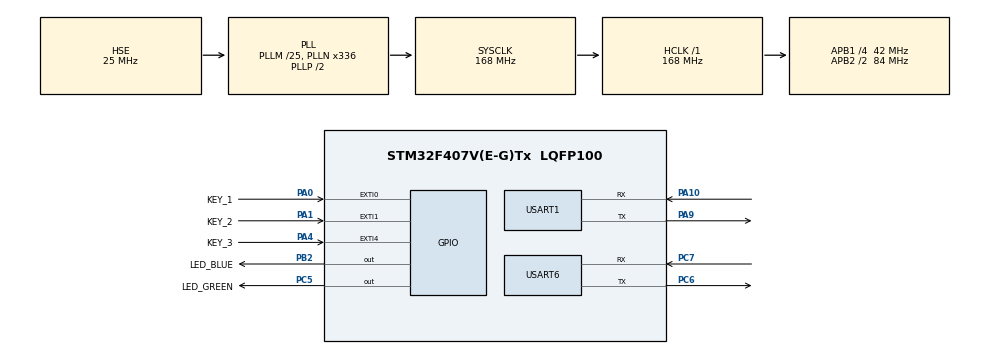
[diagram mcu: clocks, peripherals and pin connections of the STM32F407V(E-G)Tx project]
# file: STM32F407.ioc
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Mcu.Family=STM32F4
Mcu.Name=STM32F407V(E-G)Tx
Mcu.Package=LQFP100
NVIC.EXTI0_IRQn=true\:0\:0\:false\:false\:true\:true\:true\:true
NVIC.EXTI1_IRQn=true\:0\:0\:false\:false\:true\:true\:true\:true
NVIC.EXTI4_IRQn=true\:0\:0\:false\:false\:true\:true\:true\:true
NVIC.PriorityGroup=NVIC_PRIORITYGROUP_4
PA0-WKUP.GPIO_Label=KEY_1
PA0-WKUP.GPIO_ModeDefaultEXTI=GPIO_MODE_IT_RISING
PA0-WKUP.GPIO_PuPd=GPIO_PULLDOWN
PA0-WKUP.Signal=GPXTI0
PA1.GPIO_Label=KEY_2
PA1.GPIO_ModeDefaultEXTI=GPIO_MODE_IT_FALLING
PA1.GPIO_PuPd=GPIO_PULLUP
PA1.Signal=GPXTI1
PA10.Mode=Asynchronous
PA10.Signal=USART1_RX
PA13.Mode=Serial_Wire
PA13.Signal=SYS_JTMS-SWDIO
PA14.Mode=Serial_Wire
PA14.Signal=SYS_JTCK-SWCLK
PA4.GPIO_Label=KEY_3
PA4.GPIO_ModeDefaultEXTI=GPIO_MODE_IT_FALLING
PA4.GPIO_PuPd=GPIO_PULLUP
PA4.Signal=GPXTI4
PA9.Mode=Asynchronous
PA9.Signal=USART1_TX
PB2.GPIO_Label=LED_BLUE
PB2.Signal=GPIO_Output
PC5.GPIO_Label=LED_GREEN
PC5.Signal=GPIO_Output
PC6.Mode=Asynchronous
PC6.Signal=USART6_TX
PC7.Mode=Asynchronous
PC7.Signal=USART6_RX
PH0-OSC_IN.Mode=HSE-External-Oscillator
PH0-OSC_IN.Signal=RCC_OSC_IN
PH1-OSC_OUT.Mode=HSE-External-Oscillator
PH1-OSC_OUT.Signal=RCC_OSC_OUT
ProjectManager.HeapSize=0x200
ProjectManager.StackSize=0x1000
ProjectManager.TargetToolchain=MDK-ARM V5.32
RCC.48MHZClocksFreq_Value=84000000
RCC.AHBFreq_Value=168000000
RCC.APB1CLKDivider=RCC_HCLK_DIV4
RCC.APB1Freq_Value=42000000
RCC.APB1TimFreq_Value=84000000
RCC.APB2CLKDivider=RCC_HCLK_DIV2
RCC.APB2Freq_Value=84000000
RCC.APB2TimFreq_Value=168000000
RCC.CortexFreq_Value=168000000
RCC.HCLKFreq_Value=168000000
RCC.HSE_VALUE=25000000
RCC.HSI_VALUE=16000000
RCC.LSE_VALUE=32768
RCC.PLLM=25
RCC.PLLN=336
RCC.PLLSourceVirtual=RCC_PLLSOURCE_HSE
RCC.SYSCLKFreq_VALUE=168000000
RCC.SYSCLKSource=RCC_SYSCLKSOURCE_PLLCLK
RCC.VCOOutputFreq_Value=336000000
USART1.VirtualMode=VM_ASYNC
USART6.VirtualMode=VM_ASYNC
board=custom

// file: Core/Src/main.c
/* USER CODE BEGIN Header */
/***********************************************************************************************************************************
 ** 【代码编写】  魔女开发板团队
 ** 【淘    宝】  魔女开发板       https://demoboard.taobao.com
 ***********************************************************************************************************************************
 ** 【实验名称】  UART 全串口综合收发测试（UART1~UART6）
 **
 ** 【 约  定 】  本示例所用串口通信，为异步通信。
 **               2024年起更新的示例，串口通信函数命名时，统一使用"UART"，而不使用旧文件中的"USART".
 **
 ** 【适用平台】  STM32F407 + keil5 + HAL库
 **
 ** 【 CubeMX 】  无需通过CubeMX、CubeIDE开启、配置串口;
 **               bsp_UART.c中已重写好底层驱动文件，只需调用bsp_UART.h中声明的全局函数，即可初始化、发送、接收.
 **               如果还是想通过CubeMX开启串口，以方便标记使用哪些引脚，可以的，但是: 不能在CubeMX或CubeIDE中打勾使能"中断"、配置DMA, 否则冲突。
 **               即，无论有没有通过CubeMX开启UART，都能使用bsp_UART.h的函数，只要不打勾"中断”、"DMA"。
 **
 ** 【移植说明】  1- 复制本工程的UART文件夹，到目标工程文件夹中;
 **               2- 添加头文件路径： Keil > Option > C/C++ > Include Paths;
 **               3- 添加C文件到工程: Keil > 左侧工程管理器中双击目标文件夹 > 选择 bsp_UART.c;
 **               4- 添加文件引用:    #include "bsp_uart.h＂，即哪个文件要用串口功能，就在其代码文件顶部添加引用;
 **
 ** 【串口引脚】  六个串口的初始化函数UARTx_Init()，将按以下默认引脚进行初始化：
 **               1- UART1  TX_PA9   RX_PA10       特别说明：魔女开发板已板载虚拟串口，连接UART1，使用烧录USB即可与电脑通信
 **               2- UART2  TX_PA2   RX_PA3
 **               3- UART3  TX_PB10  RX_PB11
 **               4- UART4  TX_PC10  RX_PC11
 **               5- UART5  TX_PC12  RX_PD2
 **               6- UART6  TX_PC6   RX_PC7
 **
 ** 【代码功能】  1- 初始化 UART1~UART6 全部串口（115200波特率）
 **               2- UART1 接收数据并回传到串口助手，用于数据观察
 **               3- UART2~UART6 定时发送测试字符串，验证发送功能
 **               4- UART1 定时发送 0xA5+0x5A 校验帧，用于接收测试
 **               5- UART2~UART6 接收校验帧后，通过串口助手打印正常提示
 **               6- 绿色LED 500ms 定时闪烁，指示程序运行状态
 **               7- 按键中断可控制LED翻转，方便调试
 **
 ** 【代码使用】  每组串口已封装7个函数，以UART1示范说明：
 **               初始化:             void      UART1_Init(uint32_t baudrate);                                        // 初始化串口; 配置GPIO引脚PA9+PA10、配置通信参数：波特率-None-8-1、配置中断
 **               发送字符串:         void      UART1_SendString(const char *string,...);                             // 发送字符串;   参数：字符串地址; 使用方法如同printf
 **               发送指定长度：      void      UART1_SendData(uint8_t *data, uint16_t num);                          // 发送指定数据; 参数：数据地址、字节数
 **               发送AT指令字符串：  uint8_t   UART1_SendAT(char *pcAT, char *pcAckString, uint16_t usTimeOutMs);    // 针对AT指令设备，发送并等待应答; 返回0失败/1成功
 **               获取接收的字节数:   uint16_t  UART1_GetRxNum(void);                                                 // 获取接收到的字节数; 大于0表示接收到新一帧数据
 **               获取接收的数据：    uint8_t*  UART1_GetRxData(void);                                                // 获取接收缓冲区首地址
 **               清零接收标志：      void      UART1_ClearRx(void);                                                  // 清空接收计数，处理完数据必须调用
 **
 *******************************************************************************/
/* USER CODE END Header */
#include "main.h"
#include "usart.h"
#include "gpio.h"

/* USER CODE BEGIN Includes */

#include "bsp_UART.h"           // 串口通信底层驱动文件; 已重写好初始化、收发，调用函数即可使用串口;

/* USER CODE END Includes */

void SystemClock_Config(void);

/* USER CODE BEGIN 0 */
/* 用户代码，必须写在配对的BEGIN与END之间 */

/* USER CODE END 0 */

int main(void)
{
    /* USER CODE BEGIN 1 */

    /* 说明：
     * 1. 不要删除CubeMX生成的注释行（形如 USER CODE BEGIN/END），这些注释用于代码重新生成时的定位
     * 2. 所有用户自定义代码必须写在对应的BEGIN与END注释行之间，否则重新生成时会被覆盖
     * 3. 主要初始化函数说明：
     *    - HAL_Init()            初始化HAL库，配置中断优先级、系统时基等
     *    - SystemClock_Config()  配置系统时钟
     *    - MX_GPIO_Init()        初始化GPIO引脚（仅包含推挽输出、中断触发等配置）
     *    - 外设功能引脚（如UART、SPI等）的初始化在各自的功能文件中
     */

    /* USER CODE END 1 */

    /* MCU Configuration--------------------------------------------------------*/

    /* Reset of all peripherals, Initializes the Flash interface and the Systick. */
    HAL_Init();

    /* Configure the system clock */
    SystemClock_Config();

    /* Initialize all configured peripherals */
    MX_GPIO_Init();
    MX_USART1_UART_Init();
    MX_USART6_UART_Init();
    /* USER CODE BEGIN 2 */
    /* 用户代码，必须写在配对的BEGIN与END之间 */

    HAL_GPIO_WritePin(GPIOC, GPIO_PIN_5, GPIO_PIN_SET);                    // 引脚置高电平，绿亮灭

    UART1_Init(115200);                                                    // 初始化 串口1; 已写好底层，调用h中的函数即可使用; 引脚(TX-PA9 + RX-PA10)、波特率-None-8-1; 如果使用CubeMX配置，请使用前述引脚，但，不要在MX上进行中断及DMA配置，否则冲突
    UART2_Init(115200);                                                    // 初始化 串口2; 引脚 (TX-PA2、 RX-PA3)
    UART3_Init(115200);                                                    // 初始化 串口3; 引脚 (TX-PB10、RX-PB11)
    UART4_Init(115200);                                                    // 初始化 串口4; 引脚 (TX-PC10、RX-PC11)
    UART5_Init(115200);                                                    // 初始化 串口5; 引脚 (TX-PC12、RX-PD2)
    UART6_Init(115200);                                                    // 初始化 串口6; 引脚 (TX-PC6、 RX-PC7)

    printf("\r\r");                                                        // 显示提示
    printf("UART 综合收发测试 \r\r");                                      // 显示提示

    printf("发送测试：使用杜邦线， \r");                                   // 显示提示
    printf("一头固定接 PA10 , \r");                                        // 显示提示
    printf("另一头，依次接 PA2、PB10、PC10、PC12、PC6 \r\r\r");            // 显示提示

    printf("接收测试：使用杜邦线， \r");                                   // 显示提示
    printf("一头固定接 PA9 , \r");                                         // 显示提示
    printf("另一头，依次接 PA3、PB11、PC11、PD2、PC7 \r\r");               // 显示提示

    /* USER CODE END 2 */

    /* Infinite loop */
    while (1)
    {

        /* USER CODE BEGIN 3 */
        /* 用户代码，必须写在配对的BEGIN与END之间 */

        /** 1ms延时 **/
        HAL_Delay(1 - 1);                                                  // 延时函数，参数：ms; 注意：CubeMX生成的HAL_Delay(), 函数内部为避免无效操作，会对传入参数+1，因此，如果只需要几ms延时建议传入参数时-1，如果需要大几百ms的非精准延时，那参数不-1也影响不大

        /** 检查UART1是否收到数据 (串口助手) **/
        if (UART1_GetRxNum())                                              // 判断UART1是否获取到新一帧数据：函数返回的接收字节数，大于0，即为收到新一帧数据
        {
            uint8_t *rxData = UART1_GetRxData();                           // 获取数据的地址
            uint16_t rxNum = UART1_GetRxNum();                             // 获取数据的字节数
            UART1_SendData(rxData, rxNum);                                 // 打印
            UART1_ClearRx();                                               // 重要：清0接收标志，即清0接收到的字节数; 每次处理完成数据，就要调用这个函数清0
        }

        /** 检查UART2是否收到数据 **/
        if (UART2_GetRxNum())                                              // 判断USART6是否获取到新一帧数据：函数返回的接收字节数，大于0，即为收到新一帧数据
        {
            uint8_t *rxData = UART2_GetRxData();                           // 获取数据的地址
            uint16_t rxNum = UART2_GetRxNum();                             // 获取数据的字节数
            if (rxData[0] == 0xA5 && rxData[1] == 0x5A)
                printf("UART2 (PA3) 接收 正常!\r\r");
            UART2_ClearRx();                                               // 重要：清0接收标志，即清0接收到的字节数; 每次处理完成数据，就要调用这个函数清0
        }

        /** 检查UART3是否收到数据 **/
        if (UART3_GetRxNum())                                              // 判断USART6是否获取到新一帧数据：函数返回的接收字节数，大于0，即为收到新一帧数据
        {
            uint8_t *rxData = UART3_GetRxData();                           // 获取数据的地址
            uint16_t rxNum = UART3_GetRxNum();                             // 获取数据的字节数
            if (rxData[0] == 0xA5 && rxData[1] == 0x5A)

                printf("UART3 (PB11) 接收 正常! \r\r");
            UART3_ClearRx();                                               // 重要：清0接收标志，即清0接收到的字节数; 每次处理完成数据，就要调用这个函数清0
        }

        /** 检查UART4是否收到数据 **/
        if (UART4_GetRxNum())                                              // 判断USART6是否获取到新一帧数据：函数返回的接收字节数，大于0，即为收到新一帧数据
        {
            uint8_t *rxData = UART4_GetRxData();                           // 获取数据的地址
            uint16_t rxNum = UART4_GetRxNum();                             // 获取数据的字节数
            if (rxData[0] == 0xA5 && rxData[1] == 0x5A)

                printf("UART4 (PC11) 接收 正常! \r\r");
            UART4_ClearRx();                                               // 重要：清0接收标志，即清0接收到的字节数; 每次处理完成数据，就要调用这个函数清0
        }

        /** 检查UART5是否收到数据 **/
        if (UART5_GetRxNum())                                              // 判断USART6是否获取到新一帧数据：函数返回的接收字节数，大于0，即为收到新一帧数据
        {
            uint8_t *rxData = UART5_GetRxData();                           // 获取数据的地址
            uint16_t rxNum = UART5_GetRxNum();                             // 获取数据的字节数
            if (rxData[0] == 0xA5 && rxData[1] == 0x5A)
                printf("UART5 (PD2) 接收 正常! \r\r");
            UART5_ClearRx();                                               // 重要：清0接收标志，即清0接收到的字节数; 每次处理完成数据，就要调用这个函数清0
        }

        /** 检查UART6是否收到数据 **/
        if (UART6_GetRxNum())                                              // 判断USART6是否获取到新一帧数据：函数返回的接收字节数，大于0，即为收到新一帧数据
        {
            uint8_t *rxData = UART6_GetRxData();                           // 获取数据的地址
            uint16_t rxNum = UART6_GetRxNum();                             // 获取数据的字节数
            if (rxData[0] == 0xA5 && rxData[1] == 0x5A)
                printf("UART6 (PC7) 接收 正常! \r\r");
            UART6_ClearRx();                                               // 重要：清0接收标志，即清0接收到的字节数; 每次处理完成数据，就要调用这个函数清0
        }

        /** 每500ms执行一次的任务 **/
        static uint32_t lastTime_500ms = 0;                                // 定义静态变量，用于记录上次执行这个任务的时间点(单位：毫秒)
        if (HAL_GetTick() - lastTime_500ms >= 500)                         // 检查当前时间距离上次执行是否已经过了500毫秒; HAL_GetTick()是获取启动后经过的毫秒数
        {
            HAL_GPIO_TogglePin(LED_GREEN_GPIO_Port, LED_GREEN_Pin);        // 控制绿色LED引脚电平翻转(PC5); 规律地闪烁LED，方便外部观察系统是否正常运行
            lastTime_500ms =   HAL_GetTick();                              // 记录当前时间，作为新的基准点，为下一次判断做准备
        }

        /** 每1000ms执行一次的任务 **/
        static uint32_t lastTime_1000ms = 0;                               // 定义静态变量，用于记录上次执行这个任务的时间点(单位：毫秒)
        if (HAL_GetTick() - lastTime_1000ms >= 1000)                       // 检查当前时间距离上次执行是否已经过了500毫秒; HAL_GetTick()是获取启动后经过的毫秒数
        {
            // 发送测试
            UART2_SendString("本帧由 UART2 (PA2) 发出，如果能看到此文本，表示：UART2 发送正常！\r");
            UART3_SendString("本帧由 UART3 (PB10)发出，如果能看到此文本，表示：UART3 发送正常！\r");
            UART4_SendString("本帧由 UART4 (PC10)发出，如果能看到此文本，表示：UART4 发送正常！\r");
            UART5_SendString("本帧由 UART5 (PC12)发出，如果能看到此文本，表示：UART5 发送正常！\r");
            UART6_SendString("本帧由 UART6 (PC6) 发出，如果能看到此文本，表示：UART6 发送正常！\r");
            // 接收测试
            uint8_t test[2];
            test[0] = 0xA5;
            test[1] = 0x5A;
            UART1_SendData(test, 2);                                       // 发送两个16进制值 (没有特殊含义，别多想)
            // 更新任务时间标记
            lastTime_1000ms =   HAL_GetTick();                             // 记录当前时间，作为新的基准点，为下一次判断做准备
        }

    }
    /* USER CODE END 3 */
}

void SystemClock_Config(void)
{
    RCC_OscInitTypeDef RCC_OscInitStruct = {0};
    RCC_ClkInitTypeDef RCC_ClkInitStruct = {0};

    /** Configure the main internal regulator output voltage
    */
    __HAL_RCC_PWR_CLK_ENABLE();
    __HAL_PWR_VOLTAGESCALING_CONFIG(PWR_REGULATOR_VOLTAGE_SCALE1);

    /** Initializes the RCC Oscillators according to the specified parameters
    * in the RCC_OscInitTypeDef structure.
    */
    RCC_OscInitStruct.OscillatorType = RCC_OSCILLATORTYPE_HSE;
    RCC_OscInitStruct.HSEState = RCC_HSE_ON;
    RCC_OscInitStruct.PLL.PLLState = RCC_PLL_ON;
    RCC_OscInitStruct.PLL.PLLSource = RCC_PLLSOURCE_HSE;
    RCC_OscInitStruct.PLL.PLLM = 25;
    RCC_OscInitStruct.PLL.PLLN = 336;
    RCC_OscInitStruct.PLL.PLLP = RCC_PLLP_DIV2;
    RCC_OscInitStruct.PLL.PLLQ = 4;
    if (HAL_RCC_OscConfig(&RCC_OscInitStruct) != HAL_OK)
    {
        Error_Handler();
    }

    /** Initializes the CPU, AHB and APB buses clocks
    */
    RCC_ClkInitStruct.ClockType = RCC_CLOCKTYPE_HCLK | RCC_CLOCKTYPE_SYSCLK
                                  | RCC_CLOCKTYPE_PCLK1 | RCC_CLOCKTYPE_PCLK2;
    RCC_ClkInitStruct.SYSCLKSource = RCC_SYSCLKSOURCE_PLLCLK;
    RCC_ClkInitStruct.AHBCLKDivider = RCC_SYSCLK_DIV1;
    RCC_ClkInitStruct.APB1CLKDivider = RCC_HCLK_DIV4;
    RCC_ClkInitStruct.APB2CLKDivider = RCC_HCLK_DIV2;

    if (HAL_RCC_ClockConfig(&RCC_ClkInitStruct, FLASH_LATENCY_5) != HAL_OK)
    {
        Error_Handler();
    }
}

/* USER CODE BEGIN 4 */
/* 所有用户代码，必须写在配对的BEGIN与END之间 */

/******************************************************************************
 * 函  数： HAL_GPIO_EXTI_Callback
 * 功  能： EXTI中断回调函数
 * 参  数： uint16_t  GPIO_Pin    引脚编号，参数范围：GPIO_Pin_0 ~ GPIO_Pin_15
 * 返回值： 无
 * 备  注： CubeMX生成的代码在思维和风格上，与使用标准库编写时有很大的区别：
 *          1：这个是回调函数，不是中断服务函数。完整的调用：EXTIx_IRQHandler() > HAL_GPIO_EXTI_IRQHandler(GPIO_PIN_x) > HAL_GPIO_EXTI_Callback(GPIO_PIN_x)
 *          2：必须使用这个函数名称，因为它在CubeMX生成时，已被写好了各种函数调用、函数弱定义(在stm32xx_hal_gpio.c的底部); 不建议在原弱定义中增添代码，而应该重写函数
 *          3：中断条件触发后，本函数被自动调用，无需进行人工调用; 也无需进行中断标志的清理，因为HAL_GPIO_EXTI_IRQHandler()函数中已有操作;
 *          4：生成的所有EXTI中断服务函数，都统一调用这个函数，以引脚编号作参数
 *          5：判断参数传进来的引脚编号，即可知道是哪个外部中断线产生的中断信号
******************************************************************************/
void HAL_GPIO_EXTI_Callback(uint16_t GPIO_Pin)
{
    if (GPIO_Pin == KEY_1_Pin)                                  // 按键1 产生的中断信号：KEY_1、PA0、闲时下拉、按下时高电平、上升沿触发
    {
        HAL_GPIO_TogglePin(GPIOB, GPIO_PIN_2);                  // 反转蓝色LED灯
        printf("KEY_1 按下\r");                                 // 通过串口助手输出提示
    }

    if (GPIO_Pin == KEY_2_Pin)                                  // 按键2 产生的中断信号：KEY_2、PA1、闲时上拉、按下时低电平、下降沿触发
    {
        HAL_GPIO_TogglePin(GPIOB, GPIO_PIN_2);                  // 反转蓝色LED灯
        printf("KEY_2 按下\r");                                 // 通过串口助手输出提示
    }

    if (GPIO_Pin == KEY_3_Pin)                                  // 按键3 产生的中断信号：KEY_3、PA4、闲时上拉、按下低高电平、下降沿触发
    {
        HAL_GPIO_TogglePin(GPIOB, GPIO_PIN_2);                  // 反转蓝色LED灯
        printf("KEY_3 按下\r");                                 // 通过串口助手输出提示
    }
}

/* USER CODE END 4 */

void Error_Handler(void)
{
    __disable_irq();
    while (1)
    {
    }
}
